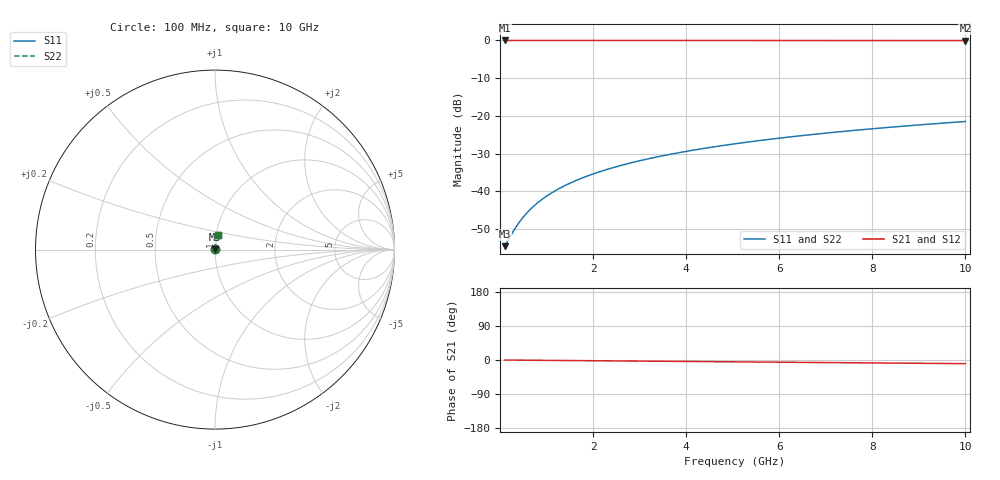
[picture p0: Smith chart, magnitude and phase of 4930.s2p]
# Hz S RI R 50.00
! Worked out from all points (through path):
!   100 points, 100 MHz to 10 GHz, reference 50 ohm
!   highest |S21| = -0.01 dB at 100 MHz (marker M1); lowest = 0.0 dB at 10 GHz (marker M2)
!   group delay of S21, straight-line fit = 2.68 ps
!   lowest |S11| = -54.6 dB at 100 MHz (marker M3), VSWR 1.00, Z = 50.2 + j0.0844 ohm
!   |S11| at or under -10 dB: start of sweep to end of sweep
!   |S22| runs from -54.6 to -21.5 dB; largest |S21 - S12| = 0
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1e8  0.00167 0.000841  0.9983 -0.00168  0.9983 -0.00168  0.00167 0.000841
3e8  0.0017 0.00252  0.9983 -0.00503  0.9983 -0.00503  0.0017 0.00252
4e8  0.00172 0.00336  0.9983 -0.00671  0.9983 -0.00671  0.00172 0.00336
5e8  0.00174 0.0042  0.9982 -0.00838  0.9982 -0.00838  0.00174 0.0042
6e8  0.00176 0.00504  0.9982 -0.0101  0.9982 -0.0101  0.00176 0.00504
7e8  0.00178 0.00588  0.9982 -0.0117  0.9982 -0.0117  0.00178 0.00588
8e8  0.0018 0.00673  0.9982 -0.0134  0.9982 -0.0134  0.0018 0.00673
1e9  0.00186 0.00841  0.9981 -0.0168  0.9981 -0.0168  0.00186 0.00841
1.2e9  0.00193 0.0101  0.998 -0.0201  0.998 -0.0201  0.00193 0.0101
1.5e9  0.00205 0.0126  0.9979 -0.0252  0.9979 -0.0252  0.00205 0.0126
1.8e9  0.0022 0.0151  0.9977 -0.0302  0.9977 -0.0302  0.0022 0.0151
2.1e9  0.00237 0.0176  0.9975 -0.0352  0.9975 -0.0352  0.00237 0.0176
2.5e9  0.00264 0.021  0.9971 -0.0419  0.9971 -0.0419  0.00264 0.021
2.9e9  0.00295 0.0243  0.9967 -0.0486  0.9967 -0.0486  0.00295 0.0243
3.4e9  0.0034 0.0285  0.9962 -0.057  0.9962 -0.057  0.0034 0.0285
4.2e9  0.00427 0.0352  0.9951 -0.0704  0.9951 -0.0704  0.00427 0.0352
5.1e9  0.00547 0.0427  0.9936 -0.0854  0.9936 -0.0854  0.00547 0.0427
5.9e9  0.00672 0.0493  0.992 -0.0987  0.992 -0.0987  0.00672 0.0493
6.7e9  0.00814 0.0559  0.9902 -0.1121  0.9902 -0.1121  0.00814 0.0559
7.5e9  0.00975 0.0624  0.9882 -0.1254  0.9882 -0.1254  0.00975 0.0624
8.4e9  0.0118 0.0697  0.9857 -0.1403  0.9857 -0.1403  0.0118 0.0697
1e10  0.0159 0.0826  0.9805 -0.1666  0.9805 -0.1666  0.0159 0.0826
